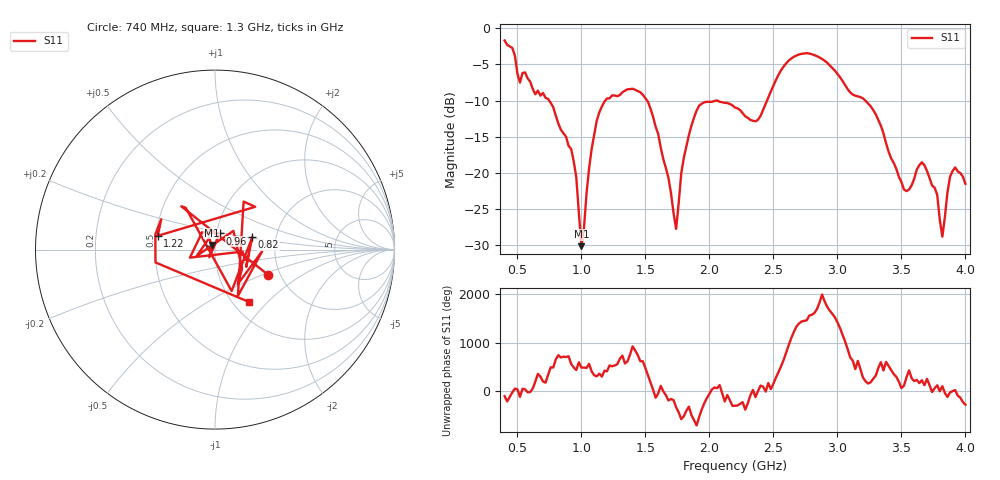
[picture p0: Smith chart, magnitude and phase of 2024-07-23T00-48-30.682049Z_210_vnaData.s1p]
!Created with skrf (http://scikit-rf.org).
# Hz S RI R 50.0
!freq ReS11 ImS11
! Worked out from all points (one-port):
!   181 points, 400 MHz to 4 GHz, reference 50 ohm
!   lowest |S11| = -30.1 dB at 1 GHz (marker M1), VSWR 1.06, Z = 48.2 + j2.52 ohm
!   |S11| at or under -10 dB: 748.8 MHz to 1.186 GHz (437.3 MHz wide, 45.2 % of centre); 1.514 GHz to 2.051 GHz (537.5 MHz wide, 30.2 % of centre); 3.218 GHz to end of sweep (the widest 3 of 4)
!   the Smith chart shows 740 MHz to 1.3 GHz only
!   S11 on the Smith chart (normalised r, x): 740 MHz: 1.73, -0.54; 820 MHz: 1.51, +0.22; 960 MHz: 1.04, +0.19; 1.22 GHz: 0.51, +0.09; 1.3 GHz: 1.18, -0.78
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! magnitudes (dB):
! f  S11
! 400 MHz  -1.7
! 520 MHz  -7.5
! 740 MHz  -9.8
! 820 MHz  -13.2
! 860 MHz  -14.5
! 960 MHz  -20.6
! 1 GHz  -30.1
! 1.12 GHz  -12.8
! 1.22 GHz  -9.7
! 1.3 GHz  -9.2
! 1.52 GHz  -10.2
! 1.68 GHz  -20.7
! 1.74 GHz  -27.7
! 1.76 GHz  -24.2
! 1.8 GHz  -17.9
! 1.92 GHz  -10.7
! 2.2 GHz  -11.0
! 2.38 GHz  -12.6
! 2.66 GHz  -3.9
! 2.88 GHz  -4.2
! 3.1 GHz  -8.9
! 3.3 GHz  -11.9
! 3.56 GHz  -22.3
! 3.68 GHz  -18.9
! 3.78 GHz  -23.0
! 3.82 GHz  -28.8
! 3.88 GHz  -20.5
! 4 GHz  -21.5
